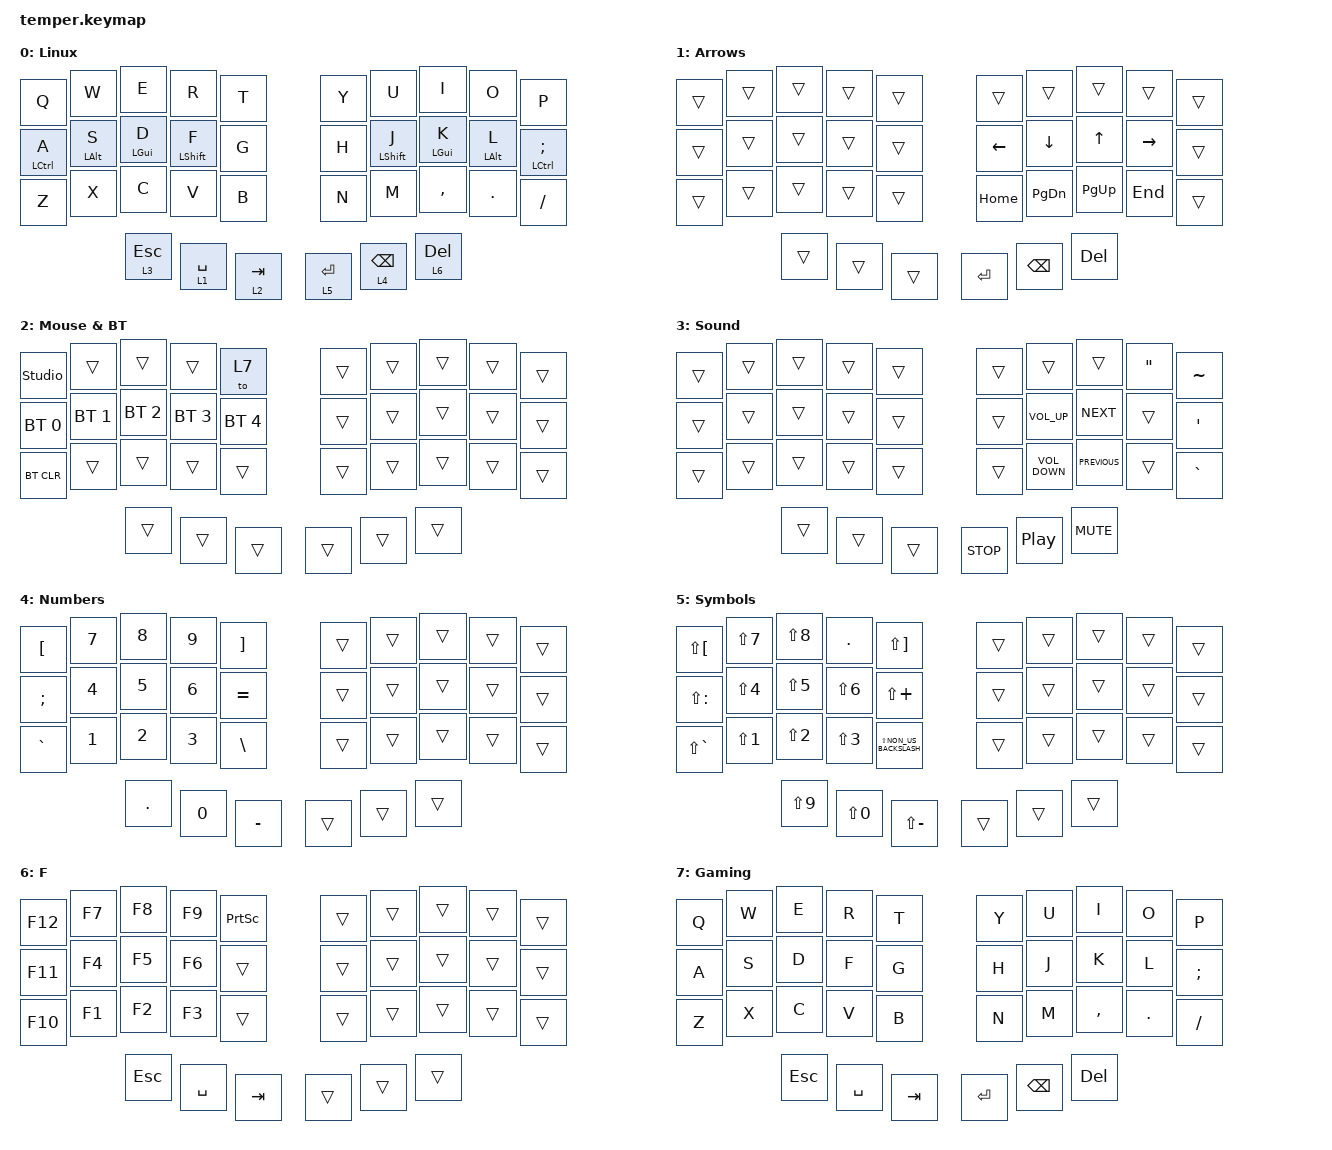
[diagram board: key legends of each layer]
/*
 * Copyright (c) 2020 The ZMK Contributors
 *
 * SPDX-License-Identifier: MIT
 */

#include <behaviors.dtsi>
#include <dt-bindings/zmk/bt.h>
#include <dt-bindings/zmk/keys.h>
#include <physical_layouts.dtsi>

&lt { quick-tap-ms = <200>; };

/ {
    chosen {
        /delete-property/ zmk,matrix_transform;
    };

    physical_layout0: physical_layout_0 {
        compatible = "zmk,physical-layout";
        display-name = "Temper";
        transform = <&default_transform>;
        kscan = <&kscan0>;
        keys
            //                    w    h     x     y    r   rx   ry
            = <&key_physical_attrs 100 100    0   26   0    0    0>
            , <&key_physical_attrs 100 100  100    8   0    0    0>
            , <&key_physical_attrs 100 100  200    0   0    0    0>
            , <&key_physical_attrs 100 100  300    8   0    0    0>
            , <&key_physical_attrs 100 100  400   18   0    0    0>
            , <&key_physical_attrs 100 100  600   18   0    0    0>
            , <&key_physical_attrs 100 100  700    8   0    0    0>
            , <&key_physical_attrs 100 100  800    0   0    0    0>
            , <&key_physical_attrs 100 100  900    8   0    0    0>
            , <&key_physical_attrs 100 100 1000   26   0    0    0>
            , <&key_physical_attrs 100 100    0  126   0    0    0>
            , <&key_physical_attrs 100 100  100  108   0    0    0>
            , <&key_physical_attrs 100 100  200  100   0    0    0>
            , <&key_physical_attrs 100 100  300  108   0    0    0>
            , <&key_physical_attrs 100 100  400  118   0    0    0>
            , <&key_physical_attrs 100 100  600  118   0    0    0>
            , <&key_physical_attrs 100 100  700  108   0    0    0>
            , <&key_physical_attrs 100 100  800  100   0    0    0>
            , <&key_physical_attrs 100 100  900  108   0    0    0>
            , <&key_physical_attrs 100 100 1000  126   0    0    0>
            , <&key_physical_attrs 100 100    0  226   0    0    0>
            , <&key_physical_attrs 100 100  100  208   0    0    0>
            , <&key_physical_attrs 100 100  200  200   0    0    0>
            , <&key_physical_attrs 100 100  300  208   0    0    0>
            , <&key_physical_attrs 100 100  400  218   0    0    0>
            , <&key_physical_attrs 100 100  600  218   0    0    0>
            , <&key_physical_attrs 100 100  700  208   0    0    0>
            , <&key_physical_attrs 100 100  800  200   0    0    0>
            , <&key_physical_attrs 100 100  900  208   0    0    0>
            , <&key_physical_attrs 100 100 1000  226   0    0    0>
            , <&key_physical_attrs 100 100  210  335   0    0    0>
            , <&key_physical_attrs 100 100  320  355   0    0    0>
            , <&key_physical_attrs 100 100  430  375   0    0    0>
            , <&key_physical_attrs 100 100  570  375   0    0    0>
            , <&key_physical_attrs 100 100  680  355   0    0    0>
            , <&key_physical_attrs 100 100  790  335   0    0    0>
            ;
    };

    macros {
        next_wp: next_wp {
            compatible = "zmk,behavior-macro";
            #binding-cells = <0>;
            bindings = <&kt LEFT_GUI &kp LEFT &kt LEFT_GUI>;
            label = "NEXT_WP";
        };

        prev_wp: prev_wp {
            compatible = "zmk,behavior-macro";
            #binding-cells = <0>;
            bindings = <&kt LEFT_GUI &kp RIGHT &kt LEFT_GUI>;
            label = "PREV_WP";
        };

        ch_next_wp: ch_next_wp {
            compatible = "zmk,behavior-macro";
            #binding-cells = <0>;
            bindings = <&kt LEFT_GUI &kp LEFT_SHIFT &kp LEFT &kt LEFT_GUI>;
            label = "CH_NEXT_WP";
        };

        ch_prev_wp: ch_prev_wp {
            compatible = "zmk,behavior-macro";
            #binding-cells = <0>;
            bindings = <&kt LEFT_GUI &kp LEFT_SHIFT &kp RIGHT &kt LEFT_GUI>;
            label = "CH_PREV_WP";
        };
    };

    behaviors {
        rpi: require_prior_idle {
            compatible = "zmk,behavior-hold-tap";
            #binding-cells = <2>;
            flavor = "tap-preferred";
            tapping-term-ms = <200>;
            quick-tap-ms = <200>;
            require-prior-idle-ms = <125>;
            bindings = <&kp>, <&kp>;
        };

        mpi: mac_require_prior_idle {
            compatible = "zmk,behavior-hold-tap";
            #binding-cells = <2>;
            flavor = "tap-preferred";
            tapping-term-ms = <200>;
            quick-tap-ms = <200>;
            require-prior-idle-ms = <125>;
            bindings = <&kp>, <&trans>;
        };
    };

    keymap {
        compatible = "zmk,keymap";

        linux {
            display-name = "Linux";
            bindings = <
&kp Q            &kp W            &kp E         &kp R              &kp T        &kp Y         &kp U              &kp I                &kp O            &kp P
&rpi LCTRL A     &rpi LEFT_ALT S  &rpi LEFT_GUI D  &rpi LEFT_SHIFT F  &kp G        &kp H         &rpi LEFT_SHIFT J  &rpi LEFT_GUI K  &rpi LEFT_ALT L  &rpi LEFT_CONTROL SEMI
&kp Z            &kp X            &kp C         &kp V              &kp B        &kp N         &kp M              &kp COMMA            &kp DOT          &kp FSLH
                                  &lt 3 ESC     &lt 1 SPACE        &lt 2 TAB    &lt 5 RETURN  &lt 4 BACKSPACE    &lt 6 DELETE
            >;
        };

        arrows {
            display-name = "Arrows";
            bindings = <
&trans  &trans  &trans  &trans  &trans    &trans    &trans         &trans       &trans     &trans
&trans  &trans  &trans  &trans  &trans    &kp LEFT  &kp DOWN       &kp UP       &kp RIGHT  &trans
&trans  &trans  &trans  &trans  &trans    &kp HOME  &kp PAGE_DOWN  &kp PAGE_UP  &kp END    &trans
                &trans  &trans  &trans    &kp RET   &kp BSPC       &kp DEL
            >;
        };

        mouse {
            display-name = "Mouse & BT";
            bindings = <
&studio_unlock  &trans        &trans        &trans        &to 7           &trans           &trans           &trans        &trans           &trans
&bt BT_SEL 0    &bt BT_SEL 1  &bt BT_SEL 2  &bt BT_SEL 3  &bt BT_SEL 4    &trans  &trans  &trans  &trans  &trans
&bt BT_CLR      &trans        &trans        &trans        &trans          &trans  &trans  &trans  &trans  &trans
                              &trans        &trans        &trans          &trans  &trans  &trans
            >;
        };

        sound {
            display-name = "Sound";
            bindings = <
&trans  &trans  &trans  &trans  &trans    &trans  &trans             &trans          &kp DQT      &kp TILDE
&trans  &trans  &trans  &trans  &trans    &trans  &kp C_VOLUME_UP    &kp C_NEXT      &trans  &kp SQT
&trans  &trans  &trans  &trans  &trans    &trans  &kp C_VOLUME_DOWN  &kp C_PREVIOUS  &trans       &kp GRAVE
                &trans  &trans  &trans    &kp C_STOP   &kp C_PLAY_PAUSE   &kp C_MUTE
            >;
        };

        number {
            display-name = "Numbers";
            bindings = <
&kp LBKT   &kp N7  &kp N8   &kp N9  &kp RBKT     &trans  &trans  &trans  &trans  &trans
&kp SEMI   &kp N4  &kp N5   &kp N6  &kp EQUAL    &trans  &trans  &trans  &trans  &trans
&kp GRAVE  &kp N1  &kp N2   &kp N3  &kp BSLH     &trans  &trans  &trans  &trans  &trans
                   &kp DOT  &kp N0  &kp MINUS    &trans  &trans  &trans
            >;
        };

        symbol {
            display-name = "Symbols";
            bindings = <
&kp LS(LEFT_BRACKET)  &kp LS(N7)        &kp LS(N8)        &kp PERIOD        &kp LS(RBKT)                &trans  &trans  &trans  &trans  &trans
&kp LS(COLON)         &kp LS(NUMBER_4)  &kp LS(N5)        &kp LS(NUMBER_6)  &kp LS(PLUS)                &trans  &trans  &trans  &trans  &trans
&kp LS(GRAVE)         &kp LS(NUMBER_1)  &kp LS(NUMBER_2)  &kp LS(NUMBER_3)  &kp LS(NON_US_BACKSLASH)    &trans  &trans  &trans  &trans  &trans
                                        &kp LS(N9)        &kp LS(N0)        &kp LS(MINUS)               &trans  &trans  &trans
            >;
        };

        f {
            display-name = "F";
            bindings = <
&kp F12  &kp F7  &kp F8   &kp F9     &kp PRINTSCREEN    &trans  &trans  &trans  &trans  &trans
&kp F11  &kp F4  &kp F5   &kp F6     &trans             &trans  &trans  &trans  &trans  &trans
&kp F10  &kp F1  &kp F2   &kp F3     &trans             &trans  &trans  &trans  &trans  &trans
                 &kp ESC  &kp SPACE  &kp TAB            &trans  &trans  &trans
            >;
        };

        gaming {
            display-name = "Gaming";
            bindings = <
&kp Q  &kp W     &kp E      &kp R         &kp T       &kp Y          &kp U       &kp I      &kp O    &kp P
&kp A  &kp S     &kp D      &kp F         &kp G       &kp H          &kp J       &kp K      &kp L    &kp SEMI
&kp Z  &kp X     &kp C      &kp V         &kp B       &kp N          &kp M       &kp COMMA  &kp DOT  &kp FSLH
                 &kp ESC    &kp SPACE     &kp TAB     &kp RETURN     &kp BACKSPACE       &kp DELETE
            >;
        };
    };
};
